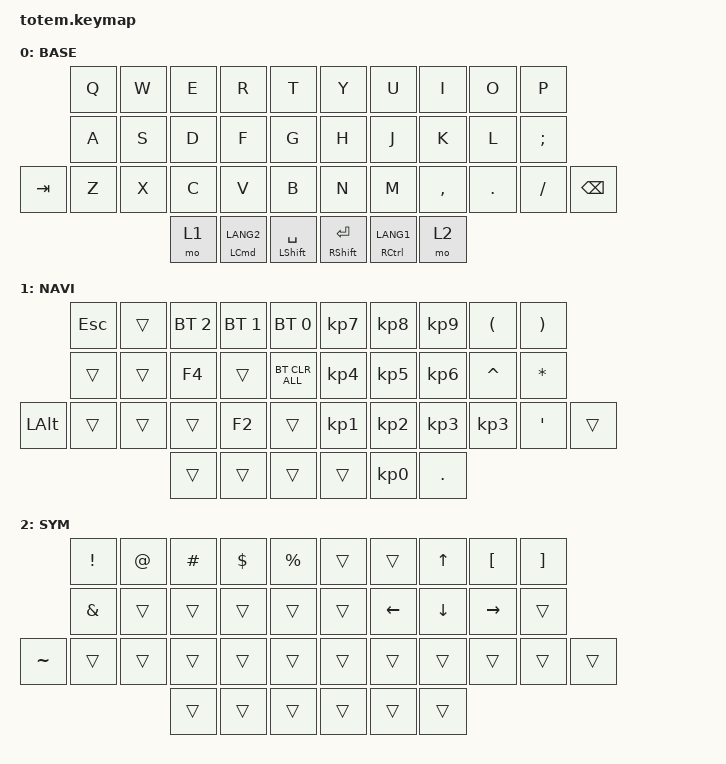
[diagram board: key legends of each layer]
//
//                                                        ▀▀▀▀▀     ▀▀▀▀▀          ▀▀█▀▀
//                                                        ▄▀▀▀▄  ▄  ▄▀▀▀▄  ▄  ▄▀▀▀▄  █  ▄▀▀▀▄
//                                                        █   █  █  █   █  █  █   █  █  █   █
//                                                         ▀▀▀   █   ▀▀▀   █   ▀▀▀   ▀   ▀▀▀
//                                                               █      ▄▄▄█▄▄▄    █   █  
//                                                               ▀      █  █  █     █▄█
//                                                             ▀▀▀▀▀    █  █  █      ▀
//                                                                      ▀  ▀  ▀
//
// ▄▄▄▄▄▄▄▄▄▄▄▄▄▄▄▄▄▄▄▄▄▄▄▄▄▄▄▄▄▄▄▄▄▄▄▄▄▄▄▄▄▄▄▄▄▄▄▄▄▄▄▄▄▄▄▄▄▄▄▄▄▄▄▄▄▄▄▄▄▄▄▄▄▄▄▄▄▄▄▄▄▄▄▄▄▄▄▄▄▄▄▄▄▄▄▄▄▄▄▄▄▄▄▄▄▄▄▄▄▄▄▄▄▄▄▄▄▄▄▄▄▄▄▄▄▄▄▄▄▄▄▄▄▄▄▄▄▄▄▄▄▄▄▄▄▄▄▄▄

#include <behaviors.dtsi>
#include <dt-bindings/zmk/bt.h>
#include <dt-bindings/zmk/keys.h>

#define BASE 0
#define NAV  1
#define SYM  2
#define ADJ  3
#define TVP1 4
#define TVP2 5

&mt {
    quick-tap-ms = <100>;
    global-quick-tap;
    flavor = "hold-preferred";
    tapping-term-ms = <140>;
};

/ {
    combos {
        compatible = "zmk,combos";

        combo_equalplus {
            timeout-ms = <50>;
            bindings = <&kp EQUAL>;
            key-positions = <8 9>;
        };

        combo_hyphen {
            timeout-ms = <50>;
            bindings = <&kp MINUS>;
            key-positions = <18 19>;
        };
    };

    keymap {
        compatible = "zmk,keymap";

        // ▄▄▄▄▄▄▄▄▄▄▄▄▄▄▄▄▄▄▄▄▄▄▄▄▄▄▄▄▄▄▄▄▄▄▄▄▄▄▄▄▄▄▄▄▄▄▄▄▄▄▄▄▄▄▄▄▄▄▄▄▄▄▄▄▄▄▄▄▄▄▄▄▄▄▄▄▄▄▄▄▄▄▄▄▄▄▄▄▄▄▄▄▄▄▄▄▄▄▄▄▄▄▄▄▄▄▄▄▄▄▄▄▄▄▄▄▄▄▄▄▄▄▄▄▄▄▄▄▄▄▄▄▄▄▄▄▄▄▄▄▄▄▄▄▄▄▄▄▄

        base_layer {
            // ┏━━━━━━━━━━━━━━━━━━━━━━━━━━━━━━━━━━━━━━━┓

            label = "BASE";

            // ┗━━━━━━━━━━━━━━━━━━━━━━━━━━━━━━━━━━━━━━━┛
            //             ┏━━━━━━━━━━━┳━━━━━━━━━━━┳━━━━━━━━━━━┳━━━━━━━━━━━┳━━━━━━━━━━━┓   ┏━━━━━━━━━━━┳━━━━━━━━━━━┳━━━━━━━━━━━┳━━━━━━━━━━━┳━━━━━━━━━━━┓
            //             ┃     Q     ┃     W     ┃     F     ┃     P     ┃     G     ┃   ┃     J     ┃     L     ┃     U     ┃     Y     ┃     ;     ┃
            //             ┣━━━━━━━━━━━╋━━━━━━━━━━━╋━━━━━━━━━━━╋━━━━━━━━━━━╋━━━━━━━━━━━┫   ┣━━━━━━━━━━━╋━━━━━━━━━━━╋━━━━━━━━━━━╋━━━━━━━━━━━╋━━━━━━━━━━━┫
            //             ┃     A     ┃     R     ┃     S     ┃     T     ┃     D     ┃   ┃     H     ┃     N     ┃     E     ┃     I     ┃     O     ┃
            // ┏━━━━━━━━━━━╋━━━━━━━━━━━╋━━━━━━━━━━━╋━━━━━━━━━━━╋━━━━━━━━━━━╋━━━━━━━━━━━┫   ┣━━━━━━━━━━━╋━━━━━━━━━━━╋━━━━━━━━━━━╋━━━━━━━━━━━╋━━━━━━━━━━━╋━━━━━━━━━━━┓
            // ┃     Q     ┃     Z     ┃     X     ┃     C     ┃     V     ┃     B     ┃   ┃     K     ┃     M     ┃     ,     ┃     .     ┃     /     ┃     \     ┃
            // ┗━━━━━━━━━━━┻━━━━━━━━━━━┻━━━━━━━━━━━╋━━━━━━━━━━━╋━━━━━━━━━━━╋━━━━━━━━━━━┫   ┣━━━━━━━━━━━╋━━━━━━━━━━━╋━━━━━━━━━━━╋━━━━━━━━━━━┻━━━━━━━━━━━┻━━━━━━━━━━━┛
            //                                     ┃    DEL    ┃    TAB    ┃    SPC    ┃   ┃   ENTER   ┃           ┃   BSPC    ┃
            //                                     ┗━━━━━━━━━━━┻━━━━━━━━━━━┻━━━━━━━━━━━┛   ┗━━━━━━━━━━━┻━━━━━━━━━━━┻━━━━━━━━━━━┛

            bindings = <
         &kp Q  &kp W  &kp E  &kp R                   &kp T                   &kp Y                  &kp U                    &kp I      &kp O    &kp P
         &kp A  &kp S  &kp D  &kp F                   &kp G                   &kp H                  &kp J                    &kp K      &kp L    &kp SEMICOLON
&kp TAB  &kp Z  &kp X  &kp C  &kp V                   &kp B                   &kp N                  &kp M                    &kp COMMA  &kp DOT  &kp FSLH       &kp BACKSPACE
                       &mo 1  &mt LEFT_COMMAND LANG2  &mt LEFT_SHIFT SPACE    &mt RIGHT_SHIFT ENTER  &mt RIGHT_CONTROL LANG1  &mo 2
            >;
        };

        // ▄▄▄▄▄▄▄▄▄▄▄▄▄▄▄▄▄▄▄▄▄▄▄▄▄▄▄▄▄▄▄▄▄▄▄▄▄▄▄▄▄▄▄▄▄▄▄▄▄▄▄▄▄▄▄▄▄▄▄▄▄▄▄▄▄▄▄▄▄▄▄▄▄▄▄▄▄▄▄▄▄▄▄▄▄▄▄▄▄▄▄▄▄▄▄▄▄▄▄▄▄▄▄▄▄▄▄▄▄▄▄▄▄▄▄▄▄▄▄▄▄▄▄▄▄▄▄▄▄▄▄▄▄▄▄▄▄▄▄▄▄▄▄▄▄▄▄▄▄

        nav_layer {
            // ┏━━━━━━━━━━━━━━━━━━━━━━━━━━━━━━━━━━━━━━━┓

            label = "NAVI";

            // ┗━━━━━━━━━━━━━━━━━━━━━━━━━━━━━━━━━━━━━━━┛
            //             ┏━━━━━━━━━━━┳━━━━━━━━━━━┳━━━━━━━━━━━┳━━━━━━━━━━━┳━━━━━━━━━━━┓   ┏━━━━━━━━━━━┳━━━━━━━━━━━┳━━━━━━━━━━━┳━━━━━━━━━━━┳━━━━━━━━━━━┓
            //             ┃           ┃           ┃     UP    ┃           ┃     {     ┃   ┃     }     ┃     7     ┃     8     ┃     9     ┃     +     ┃
            //             ┣━━━━━━━━━━━╋━━━━━━━━━━━╋━━━━━━━━━━━╋━━━━━━━━━━━╋━━━━━━━━━━━┫   ┣━━━━━━━━━━━╋━━━━━━━━━━━╋━━━━━━━━━━━╋━━━━━━━━━━━╋━━━━━━━━━━━┫
            //             ┃   SHIFT   ┃   LEFT    ┃    DOWN   ┃   RIGHT   ┃     [     ┃   ┃     ]     ┃     4     ┃     5     ┃     6     ┃     -     ┃
            // ┏━━━━━━━━━━━╋━━━━━━━━━━━╋━━━━━━━━━━━╋━━━━━━━━━━━╋━━━━━━━━━━━╋━━━━━━━━━━━┫   ┣━━━━━━━━━━━╋━━━━━━━━━━━╋━━━━━━━━━━━╋━━━━━━━━━━━╋━━━━━━━━━━━╋━━━━━━━━━━━┓
            // ┃           ┃           ┃   P UP    ┃  C LOCK   ┃  P DOWN   ┃     (     ┃   ┃     )     ┃     1     ┃     2     ┃     3     ┃     *     ┃           ┃
            // ┗━━━━━━━━━━━┻━━━━━━━━━━━┻━━━━━━━━━━━╋━━━━━━━━━━━╋━━━━━━━━━━━╋━━━━━━━━━━━┫   ┣━━━━━━━━━━━╋━━━━━━━━━━━╋━━━━━━━━━━━╋━━━━━━━━━━━┻━━━━━━━━━━━┻━━━━━━━━━━━┛
            //                                     ┃           ┃    TAB    ┃    SPC    ┃   ┃    DEL    ┃     0     ┃           ┃
            //                                     ┗━━━━━━━━━━━┻━━━━━━━━━━━┻━━━━━━━━━━━┛   ┗━━━━━━━━━━━┻━━━━━━━━━━━┻━━━━━━━━━━━┛

            bindings = <
              &kp ESC  &trans  &bt BT_SEL 2  &bt BT_SEL 1  &bt BT_SEL 0      &kp KP_NUMBER_7  &kp KP_NUMBER_8  &kp KP_NUMBER_9  &kp LEFT_PARENTHESIS  &kp RIGHT_PARENTHESIS
              &trans   &trans  &kp F4        &trans        &bt BT_CLR_ALL    &kp KP_NUMBER_4  &kp KP_NUMBER_5  &kp KP_NUMBER_6  &kp CARET             &kp ASTERISK
&kp LEFT_ALT  &trans   &trans  &trans        &kp F2        &trans            &kp KP_NUMBER_1  &kp KP_NUMBER_2  &kp KP_NUMBER_3  &kp KP_N3             &kp SQT                &trans
                               &trans        &trans        &trans            &trans           &kp KP_N0        &kp PERIOD
            >;
        };

        // ▄▄▄▄▄▄▄▄▄▄▄▄▄▄▄▄▄▄▄▄▄▄▄▄▄▄▄▄▄▄▄▄▄▄▄▄▄▄▄▄▄▄▄▄▄▄▄▄▄▄▄▄▄▄▄▄▄▄▄▄▄▄▄▄▄▄▄▄▄▄▄▄▄▄▄▄▄▄▄▄▄▄▄▄▄▄▄▄▄▄▄▄▄▄▄▄▄▄▄▄▄▄▄▄▄▄▄▄▄▄▄▄▄▄▄▄▄▄▄▄▄▄▄▄▄▄▄▄▄▄▄▄▄▄▄▄▄▄▄▄▄▄▄▄▄▄▄▄▄

        sim_layer {
            // ┏━━━━━━━━━━━━━━━━━━━━━━━━━━━━━━━━━━━━━━━┓

            label = "SYM";

            // ┗━━━━━━━━━━━━━━━━━━━━━━━━━━━━━━━━━━━━━━━┛
            //             ┏━━━━━━━━━━━┳━━━━━━━━━━━┳━━━━━━━━━━━┳━━━━━━━━━━━┳━━━━━━━━━━━┓   ┏━━━━━━━━━━━┳━━━━━━━━━━━┳━━━━━━━━━━━┳━━━━━━━━━━━┳━━━━━━━━━━━┓
            //             ┃     !     ┃     @     ┃     #     ┃     $     ┃     %     ┃   ┃     ˆ     ┃     &     ┃     Ü     ┃     '     ┃     "     ┃
            //             ┣━━━━━━━━━━━╋━━━━━━━━━━━╋━━━━━━━━━━━╋━━━━━━━━━━━╋━━━━━━━━━━━┫   ┣━━━━━━━━━━━╋━━━━━━━━━━━╋━━━━━━━━━━━╋━━━━━━━━━━━╋━━━━━━━━━━━┫
            //             ┃     Ä     ┃           ┃    SZ     ┃           ┃           ┃   ┃   MUTE    ┃   YEN     ┃   EURO    ┃  POUND    ┃     Ö     ┃
            // ┏━━━━━━━━━━━╋━━━━━━━━━━━╋━━━━━━━━━━━╋━━━━━━━━━━━╋━━━━━━━━━━━╋━━━━━━━━━━━┫   ┣━━━━━━━━━━━╋━━━━━━━━━━━╋━━━━━━━━━━━╋━━━━━━━━━━━╋━━━━━━━━━━━╋━━━━━━━━━━━┓
            // ┃           ┃  EMAIL1   ┃  EMAIL2   ┃           ┃           ┃           ┃   ┃   VOL-    ┃   VOL+    ┃   LAST    ┃   NEXT    ┃     \     ┃           ┃
            // ┗━━━━━━━━━━━┻━━━━━━━━━━━┻━━━━━━━━━━━╋━━━━━━━━━━━╋━━━━━━━━━━━╋━━━━━━━━━━━┫   ┣━━━━━━━━━━━╋━━━━━━━━━━━╋━━━━━━━━━━━╋━━━━━━━━━━━┻━━━━━━━━━━━┻━━━━━━━━━━━┛
            //                                     ┃           ┃    GIF    ┃    ADJ    ┃   ┃           ┃           ┃           ┃
            //                                     ┗━━━━━━━━━━━┻━━━━━━━━━━━┻━━━━━━━━━━━┛   ┗━━━━━━━━━━━┻━━━━━━━━━━━┻━━━━━━━━━━━┛

            bindings = <
           &kp EXCL  &kp AT  &kp HASH  &kp DLLR  &kp PRCNT    &trans  &trans    &kp UP_ARROW  &kp LEFT_BRACKET  &kp RIGHT_BRACKET
           &kp AMPS  &trans  &trans    &trans    &trans       &trans  &kp LEFT  &kp DOWN      &kp RIGHT         &trans
&kp TILDE  &trans    &trans  &trans    &trans    &trans       &trans  &trans    &trans        &trans            &trans             &trans
                             &trans    &trans    &trans       &trans  &trans    &trans
            >;
        };

        // ▄▄▄▄▄▄▄▄▄▄▄▄▄▄▄▄▄▄▄▄▄▄▄▄▄▄▄▄▄▄▄▄▄▄▄▄▄▄▄▄▄▄▄▄▄▄▄▄▄▄▄▄▄▄▄▄▄▄▄▄▄▄▄▄▄▄▄▄▄▄▄▄▄▄▄▄▄▄▄▄▄▄▄▄▄▄▄▄▄▄▄▄▄▄▄▄▄▄▄▄▄▄▄▄▄▄▄▄▄▄▄▄▄▄▄▄▄▄▄▄▄▄▄▄▄▄▄▄▄▄▄▄▄▄▄▄▄▄▄▄▄▄▄▄▄▄▄▄▄
        // ▄▄▄▄▄▄▄▄▄▄▄▄▄▄▄▄▄▄▄▄▄▄▄▄▄▄▄▄▄▄▄▄▄▄▄▄▄▄▄▄▄▄▄▄▄▄▄▄▄▄▄▄▄▄▄▄▄▄▄▄▄▄▄▄▄▄▄▄▄▄▄▄▄▄▄▄▄▄▄▄▄▄▄▄▄▄▄▄▄▄▄▄▄▄▄▄▄▄▄▄▄▄▄▄▄▄▄▄▄▄▄▄▄▄▄▄▄▄▄▄▄▄▄▄▄▄▄▄▄▄▄▄▄▄▄▄▄▄▄▄▄▄▄▄▄▄▄▄▄
        // ▄▄▄▄▄▄▄▄▄▄▄▄▄▄▄▄▄▄▄▄▄▄▄▄▄▄▄▄▄▄▄▄▄▄▄▄▄▄▄▄▄▄▄▄▄▄▄▄▄▄▄▄▄▄▄▄▄▄▄▄▄▄▄▄▄▄▄▄▄▄▄▄▄▄▄▄▄▄▄▄▄▄▄▄▄▄▄▄▄▄▄▄▄▄▄▄▄▄▄▄▄▄▄▄▄▄▄▄▄▄▄▄▄▄▄▄▄▄▄▄▄▄▄▄▄▄▄▄▄▄▄▄▄▄▄▄▄▄▄▄▄▄▄▄▄▄▄▄▄
    };
};
